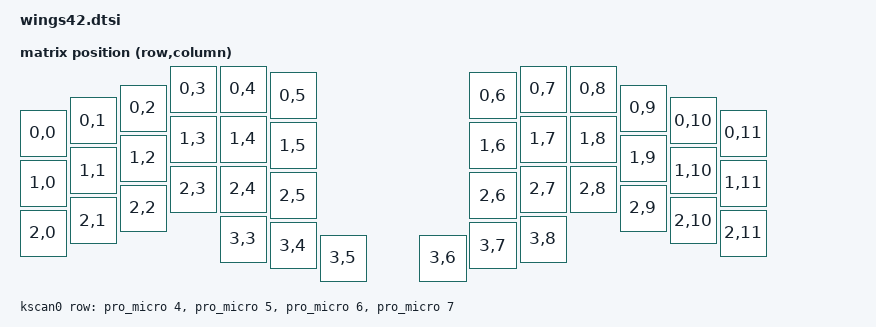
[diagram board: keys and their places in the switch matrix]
#include <dt-bindings/zmk/matrix_transform.h>
#include <physical_layouts.dtsi>

/*
 * wings42 v3 (Daily Craft) - 3x6 + 3 thumb keys per half, 42 keys total.
 * Pins taken from QMK dailycraft/wings42/rev2 (COL2ROW).
 *
 * Matrix: 4 rows x 12 columns (left = cols 0-5, right = cols 6-11)
 *   Rows 0-2 : main 3x6 block
 *   Row  3   : thumb keys (left: cols 3,4,5 / right: cols 6,7,8)
 */

/ {
    chosen {
        zmk,kscan = &kscan0;
        zmk,physical-layout = &default_layout;
    };

    kscan0: kscan_0 {
        compatible = "zmk,kscan-gpio-matrix";
        diode-direction = "col2row";
        wakeup-source;

        /* QMK rows: D4, C6, D7, E6 */
        row-gpios
            = <&pro_micro 4 (GPIO_ACTIVE_HIGH | GPIO_PULL_DOWN)>
            , <&pro_micro 5 (GPIO_ACTIVE_HIGH | GPIO_PULL_DOWN)>
            , <&pro_micro 6 (GPIO_ACTIVE_HIGH | GPIO_PULL_DOWN)>
            , <&pro_micro 7 (GPIO_ACTIVE_HIGH | GPIO_PULL_DOWN)>
            ;
    };

    default_transform: keymap_transform_0 {
        compatible = "zmk,matrix-transform";
        columns = <12>;
        rows = <4>;

        map = <
            RC(0,0) RC(0,1) RC(0,2) RC(0,3) RC(0,4) RC(0,5)   RC(0,6) RC(0,7) RC(0,8) RC(0,9) RC(0,10) RC(0,11)
            RC(1,0) RC(1,1) RC(1,2) RC(1,3) RC(1,4) RC(1,5)   RC(1,6) RC(1,7) RC(1,8) RC(1,9) RC(1,10) RC(1,11)
            RC(2,0) RC(2,1) RC(2,2) RC(2,3) RC(2,4) RC(2,5)   RC(2,6) RC(2,7) RC(2,8) RC(2,9) RC(2,10) RC(2,11)
                                    RC(3,3) RC(3,4) RC(3,5)   RC(3,6) RC(3,7) RC(3,8)
        >;
    };

    default_layout: default_layout {
        compatible = "zmk,physical-layout";
        display-name = "Default Layout";
        transform = <&default_transform>;
        kscan = <&kscan0>;

        /* w h x y (1/100 key units) - positions from QMK layout, same order as the transform map */
        keys
            /* row 0 */
            = <&key_physical_attrs 100 100    0  88 0 0 0>
            , <&key_physical_attrs 100 100  100  63 0 0 0>
            , <&key_physical_attrs 100 100  200  38 0 0 0>
            , <&key_physical_attrs 100 100  300   0 0 0 0>
            , <&key_physical_attrs 100 100  400   0 0 0 0>
            , <&key_physical_attrs 100 100  500  13 0 0 0>
            , <&key_physical_attrs 100 100  900  13 0 0 0>
            , <&key_physical_attrs 100 100 1000   0 0 0 0>
            , <&key_physical_attrs 100 100 1100   0 0 0 0>
            , <&key_physical_attrs 100 100 1200  38 0 0 0>
            , <&key_physical_attrs 100 100 1300  63 0 0 0>
            , <&key_physical_attrs 100 100 1400  88 0 0 0>
            /* row 1 */
            , <&key_physical_attrs 100 100    0 188 0 0 0>
            , <&key_physical_attrs 100 100  100 163 0 0 0>
            , <&key_physical_attrs 100 100  200 138 0 0 0>
            , <&key_physical_attrs 100 100  300 100 0 0 0>
            , <&key_physical_attrs 100 100  400 100 0 0 0>
            , <&key_physical_attrs 100 100  500 113 0 0 0>
            , <&key_physical_attrs 100 100  900 113 0 0 0>
            , <&key_physical_attrs 100 100 1000 100 0 0 0>
            , <&key_physical_attrs 100 100 1100 100 0 0 0>
            , <&key_physical_attrs 100 100 1200 138 0 0 0>
            , <&key_physical_attrs 100 100 1300 163 0 0 0>
            , <&key_physical_attrs 100 100 1400 188 0 0 0>
            /* row 2 */
            , <&key_physical_attrs 100 100    0 288 0 0 0>
            , <&key_physical_attrs 100 100  100 263 0 0 0>
            , <&key_physical_attrs 100 100  200 238 0 0 0>
            , <&key_physical_attrs 100 100  300 200 0 0 0>
            , <&key_physical_attrs 100 100  400 200 0 0 0>
            , <&key_physical_attrs 100 100  500 213 0 0 0>
            , <&key_physical_attrs 100 100  900 213 0 0 0>
            , <&key_physical_attrs 100 100 1000 200 0 0 0>
            , <&key_physical_attrs 100 100 1100 200 0 0 0>
            , <&key_physical_attrs 100 100 1200 238 0 0 0>
            , <&key_physical_attrs 100 100 1300 263 0 0 0>
            , <&key_physical_attrs 100 100 1400 288 0 0 0>
            /* thumbs */
            , <&key_physical_attrs 100 100  400 300 0 0 0>
            , <&key_physical_attrs 100 100  500 313 0 0 0>
            , <&key_physical_attrs 100 100  600 338 0 0 0>
            , <&key_physical_attrs 100 100  800 338 0 0 0>
            , <&key_physical_attrs 100 100  900 313 0 0 0>
            , <&key_physical_attrs 100 100 1000 300 0 0 0>
            ;
    };
};
